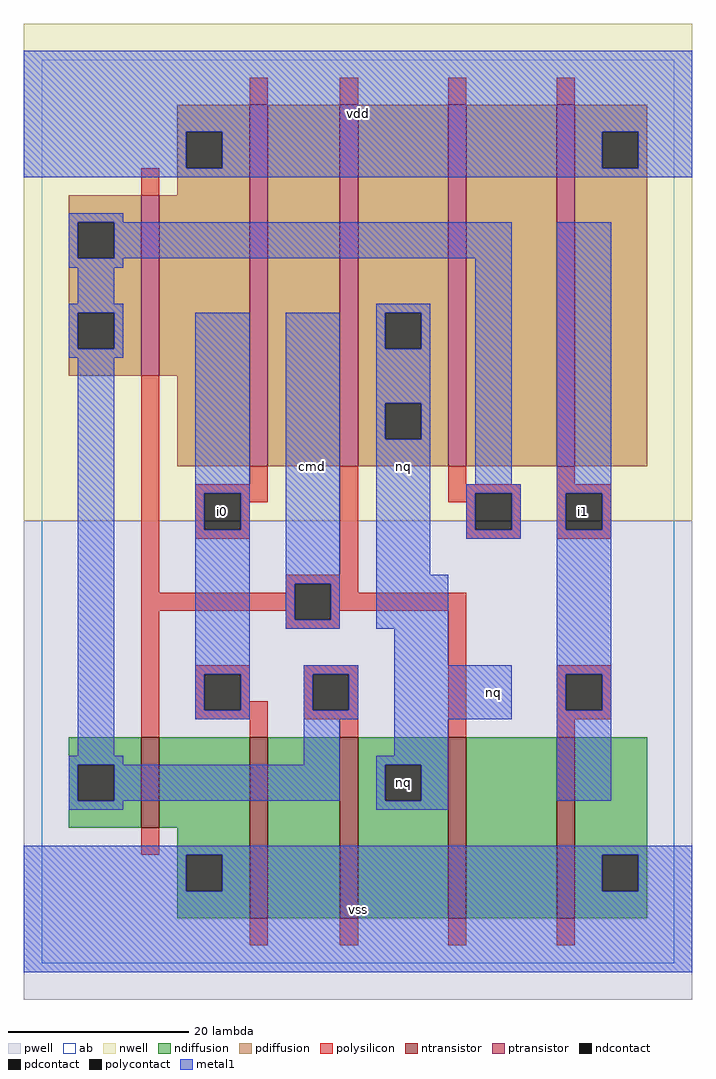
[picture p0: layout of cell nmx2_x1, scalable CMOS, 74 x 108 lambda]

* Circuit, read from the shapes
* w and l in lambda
.subckt nmx2_x1 cmd i0 i1 nq vdd vss
M1 vss cmd n1 VSUBS nfet w=10 l=2
M2 n2 i0 vss VSUBS nfet w=20 l=2
M3 nq n1 n2 VSUBS nfet w=20 l=2
M4 n3 cmd nq VSUBS nfet w=20 l=2
M5 vss i1 n3 VSUBS nfet w=20 l=2
M6 vdd cmd n1 n4 pfet w=20 l=2
M7 n5 i0 vdd n4 pfet w=40 l=2
M8 nq cmd n5 n4 pfet w=40 l=2
M9 n6 n1 nq n4 pfet w=40 l=2
M10 vdd i1 n6 n4 pfet w=40 l=2
.ends

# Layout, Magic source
magic
tech scmos
<< ab >>
rect 0 0 70 100
<< pwell >>
rect -2 -4 72 49
<< nwell >>
rect -2 49 72 104
<< polysilicon >>
rect 23 95 25 98
rect 33 95 35 98
rect 45 95 47 98
rect 57 95 59 98
rect 11 85 13 88
rect 11 41 13 65
rect 23 53 25 55
rect 17 52 25 53
rect 17 48 18 52
rect 22 51 25 52
rect 22 48 23 51
rect 17 47 23 48
rect 33 43 35 55
rect 45 53 47 55
rect 57 53 59 55
rect 45 52 53 53
rect 45 51 48 52
rect 47 48 48 51
rect 52 48 53 52
rect 47 47 53 48
rect 57 52 63 53
rect 57 48 58 52
rect 62 48 63 52
rect 57 47 63 48
rect 27 42 35 43
rect 27 41 28 42
rect 11 39 28 41
rect 11 25 13 39
rect 27 38 28 39
rect 32 41 35 42
rect 32 39 47 41
rect 32 38 33 39
rect 27 37 33 38
rect 17 32 23 33
rect 17 28 18 32
rect 22 29 23 32
rect 29 32 35 33
rect 22 28 25 29
rect 17 27 25 28
rect 29 28 30 32
rect 34 28 35 32
rect 29 27 35 28
rect 23 25 25 27
rect 33 25 35 27
rect 45 25 47 39
rect 57 32 63 33
rect 57 28 58 32
rect 62 28 63 32
rect 57 27 63 28
rect 57 25 59 27
rect 11 12 13 15
rect 23 2 25 5
rect 33 2 35 5
rect 45 2 47 5
rect 57 2 59 5
<< ndiffusion >>
rect 3 22 11 25
rect 3 18 4 22
rect 8 18 11 22
rect 3 15 11 18
rect 13 15 23 25
rect 15 12 23 15
rect 15 8 16 12
rect 20 8 23 12
rect 15 5 23 8
rect 25 5 33 25
rect 35 22 45 25
rect 35 18 38 22
rect 42 18 45 22
rect 35 5 45 18
rect 47 5 57 25
rect 59 12 67 25
rect 59 8 62 12
rect 66 8 67 12
rect 59 5 67 8
<< pdiffusion >>
rect 15 92 23 95
rect 15 88 16 92
rect 20 88 23 92
rect 15 85 23 88
rect 3 82 11 85
rect 3 78 4 82
rect 8 78 11 82
rect 3 72 11 78
rect 3 68 4 72
rect 8 68 11 72
rect 3 65 11 68
rect 13 65 23 85
rect 15 55 23 65
rect 25 55 33 95
rect 35 72 45 95
rect 35 68 38 72
rect 42 68 45 72
rect 35 62 45 68
rect 35 58 38 62
rect 42 58 45 62
rect 35 55 45 58
rect 47 55 57 95
rect 59 92 67 95
rect 59 88 62 92
rect 66 88 67 92
rect 59 55 67 88
<< metal1 >>
rect -2 92 72 101
rect -2 88 16 92
rect 20 88 62 92
rect 66 88 72 92
rect -2 87 72 88
rect 3 82 9 83
rect 3 78 4 82
rect 8 78 52 82
rect 3 77 9 78
rect 4 73 8 77
rect 3 72 9 73
rect 37 72 43 73
rect 3 68 4 72
rect 8 68 9 72
rect 3 67 9 68
rect 4 23 8 67
rect 17 52 23 72
rect 17 48 18 52
rect 22 48 23 52
rect 17 32 23 48
rect 27 42 33 72
rect 27 38 28 42
rect 32 38 33 42
rect 27 37 33 38
rect 37 68 38 72
rect 42 68 43 72
rect 37 62 43 68
rect 37 58 38 62
rect 42 58 43 62
rect 37 43 43 58
rect 48 53 52 78
rect 47 52 53 53
rect 47 48 48 52
rect 52 48 53 52
rect 47 47 53 48
rect 57 52 63 82
rect 57 48 58 52
rect 62 48 63 52
rect 37 37 45 43
rect 39 33 45 37
rect 17 28 18 32
rect 22 28 23 32
rect 17 27 23 28
rect 29 32 35 33
rect 29 28 30 32
rect 34 28 35 32
rect 29 27 35 28
rect 39 27 52 33
rect 57 32 63 48
rect 57 28 58 32
rect 62 28 63 32
rect 3 22 9 23
rect 29 22 33 27
rect 39 23 45 27
rect 3 18 4 22
rect 8 18 33 22
rect 37 22 45 23
rect 37 18 38 22
rect 42 18 45 22
rect 57 18 63 28
rect 3 17 9 18
rect 37 17 45 18
rect -2 12 72 13
rect -2 8 16 12
rect 20 8 62 12
rect 66 8 72 12
rect -2 -1 72 8
<< ntransistor >>
rect 11 15 13 25
rect 23 5 25 25
rect 33 5 35 25
rect 45 5 47 25
rect 57 5 59 25
<< ptransistor >>
rect 11 65 13 85
rect 23 55 25 95
rect 33 55 35 95
rect 45 55 47 95
rect 57 55 59 95
<< polycontact >>
rect 18 48 22 52
rect 48 48 52 52
rect 58 48 62 52
rect 28 38 32 42
rect 18 28 22 32
rect 30 28 34 32
rect 58 28 62 32
<< ndcontact >>
rect 4 18 8 22
rect 16 8 20 12
rect 38 18 42 22
rect 62 8 66 12
<< pdcontact >>
rect 16 88 20 92
rect 4 78 8 82
rect 4 68 8 72
rect 38 68 42 72
rect 38 58 42 62
rect 62 88 66 92
<< labels >>
rlabel polycontact 20 50 20 50 6 i0
rlabel polycontact 20 50 20 50 6 i0
rlabel metal1 30 55 30 55 6 cmd
rlabel metal1 30 55 30 55 6 cmd
rlabel metal1 35 6 35 6 6 vss
rlabel metal1 35 6 35 6 6 vss
rlabel ndcontact 40 20 40 20 6 nq
rlabel ndcontact 40 20 40 20 6 nq
rlabel metal1 50 30 50 30 6 nq
rlabel metal1 50 30 50 30 6 nq
rlabel metal1 40 55 40 55 6 nq
rlabel metal1 40 55 40 55 6 nq
rlabel metal1 35 94 35 94 6 vdd
rlabel metal1 35 94 35 94 6 vdd
rlabel polycontact 60 50 60 50 6 i1
rlabel polycontact 60 50 60 50 6 i1
<< end >>
